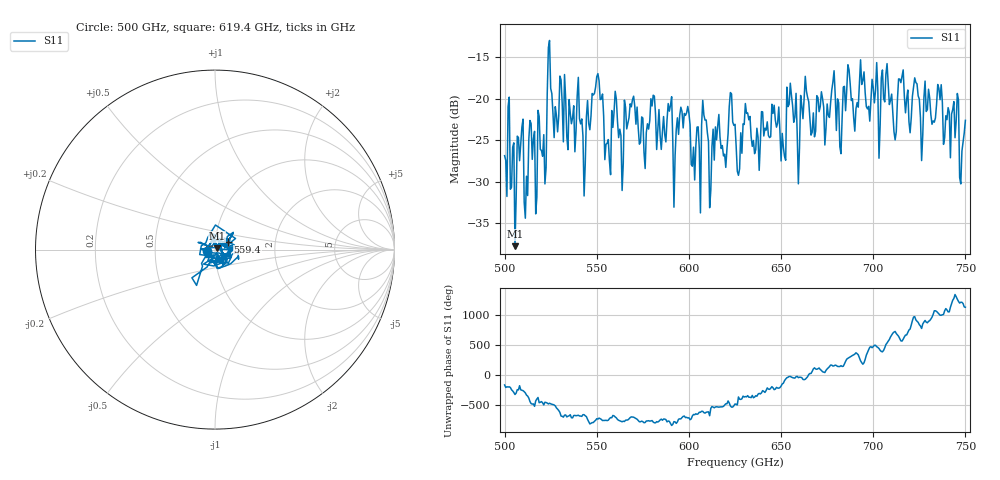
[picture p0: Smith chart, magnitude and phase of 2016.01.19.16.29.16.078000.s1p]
!Created with skrf (http://scikit-rf.org).
# GHz S RI R 50.0
!freq ReS11 ImS11
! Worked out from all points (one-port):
!   401 points, 500 GHz to 750 GHz, reference 50 ohm
!   lowest |S11| = -37.7 dB at 505.6 GHz (marker M1), VSWR 1.03, Z = 51.2 + j0.634 ohm
!   |S11| at or under -10 dB: start of sweep to end of sweep
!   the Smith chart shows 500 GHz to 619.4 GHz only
!   S11 on the Smith chart (normalised r, x): 500 GHz: 0.91, -0.01; 559.4 GHz: 1.15, +0.10; 619.4 GHz: 0.92, -0.05
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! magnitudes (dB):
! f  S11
! 500 GHz  -26.8
! 505.6 GHz  -37.7
! 508.8 GHz  -25.4
! 511.9 GHz  -29.3
! 514.4 GHz  -23.0
! 521.2 GHz  -24.3
! 524.4 GHz  -13.0
! 527.5 GHz  -21.0
! 531.2 GHz  -20.6
! 542.5 GHz  -24.5
! 550 GHz  -17.3
! 556.2 GHz  -24.9
! 559.4 GHz  -21.6
! 562.5 GHz  -23.7
! 569.4 GHz  -20.1
! 593.8 GHz  -22.3
! 619.4 GHz  -26.7
! 622.5 GHz  -19.3
! 625 GHz  -23.1
! 646.2 GHz  -20.8
! 651.2 GHz  -25.9
! 656.2 GHz  -20.8
! 667.5 GHz  -21.7
! 678.1 GHz  -18.0
! 681.2 GHz  -20.5
! 687.5 GHz  -18.2
! 718.8 GHz  -18.9
! 750 GHz  -22.6
